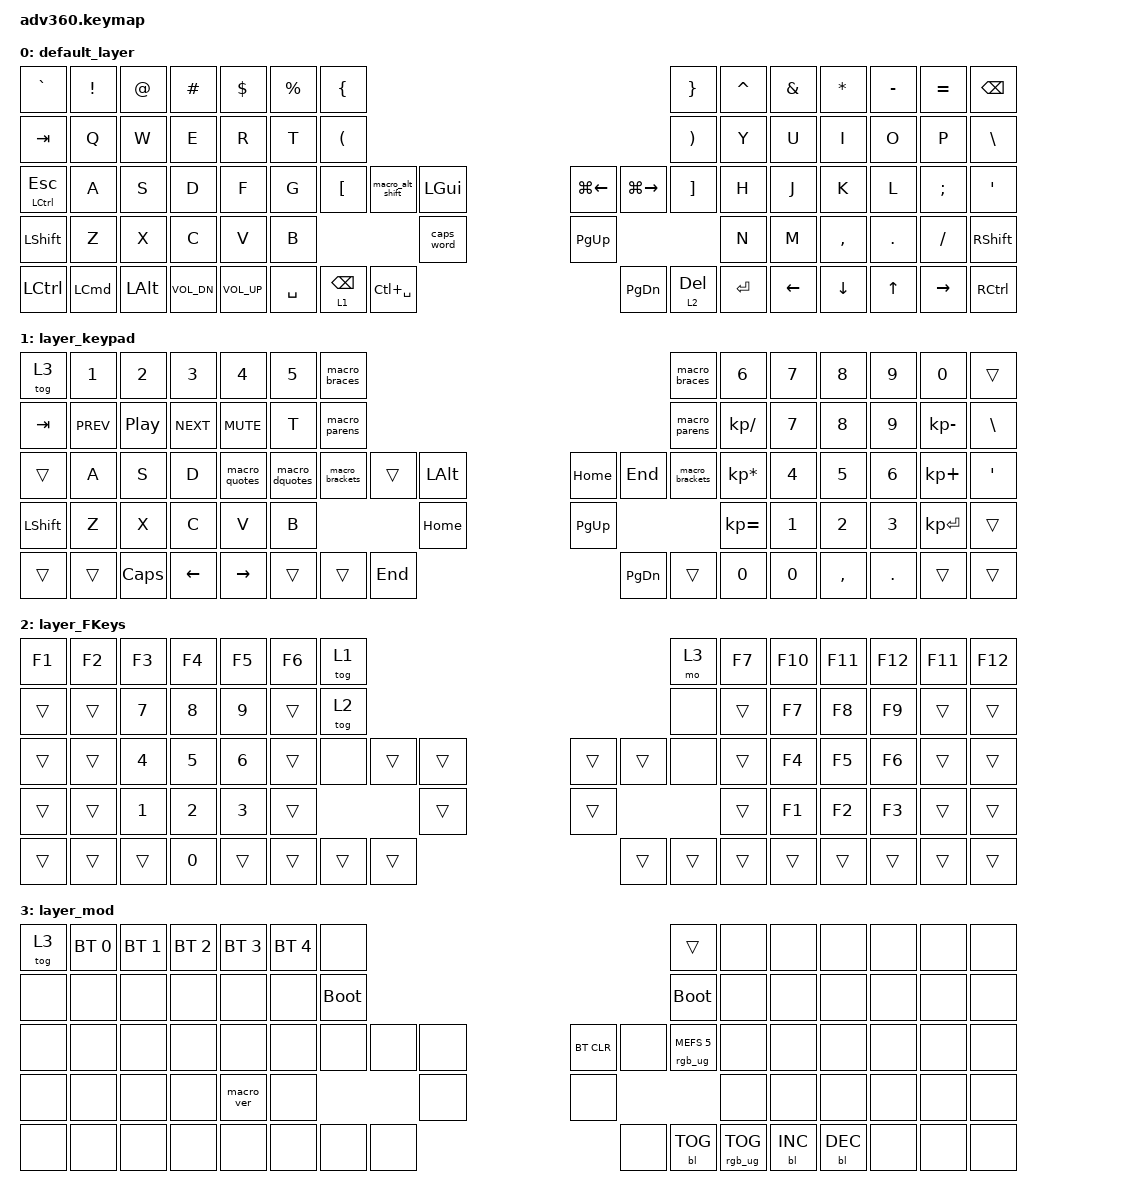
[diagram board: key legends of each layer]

/*
 * Copyright (c) 2020 The ZMK Contributors
 *
 * SPDX-License-Identifier: MIT
 */


/* This file is maintained by hand.
 *
 * It was originally generated by the Kinesis web editor, which has been
 * discontinued. keymap.json mirrors the bindings below for editors that
 * still read it; this file is what the firmware is built from.
 */

#include <behaviors.dtsi>
#include <dt-bindings/zmk/keys.h>
#include <dt-bindings/zmk/bt.h>
#include <dt-bindings/zmk/rgb.h>
#include <dt-bindings/zmk/backlight.h>

/ {
  behaviors {
    #include "macros.dtsi"
    #include "version.dtsi"

    hm: homerow_mods {
        compatible = "zmk,behavior-hold-tap";
        label = "HOMEROW_MODS";
        #binding-cells = <2>;
        tapping-term-ms = <200>;
        quick_tap_ms = <175>;
        flavor = "tap-preferred";
        bindings = <&kp>, <&kp>;
    };

    /* Hold = modifier, tap = key. Balanced: it only becomes a hold once
     * another key is pressed AND released while this one is down, so a fast
     * Esc-then-letter roll stays Esc. Tap, then hold, to auto-repeat the tap. */
    mtb: mod_tap_balanced {
        compatible = "zmk,behavior-hold-tap";
        #binding-cells = <2>;
        tapping-term-ms = <200>;
        quick-tap-ms = <175>;
        flavor = "balanced";
        bindings = <&kp>, <&kp>;
    };

    /* Hold = layer, tap = key. Same timing rules as mtb. */
    ltb: layer_tap_balanced {
        compatible = "zmk,behavior-hold-tap";
        #binding-cells = <2>;
        tapping-term-ms = <200>;
        quick-tap-ms = <175>;
        flavor = "balanced";
        bindings = <&mo>, <&kp>;
    };
  };

    keymap {
        compatible = "zmk,keymap";


        default_layer {
            bindings = <
      &kp GRAVE          &kp EXCL        &kp AT       &kp HASH       &kp DLLR  &kp PRCNT                  &kp LEFT_BRACE                                                                             &kp RIGHT_BRACE  &kp CARET  &kp AMPS   &kp STAR  &kp MINUS  &kp EQUAL   &kp BSPC
        &kp TAB             &kp Q         &kp W          &kp E          &kp R      &kp T            &kp LEFT_PARENTHESIS                                                                       &kp RIGHT_PARENTHESIS      &kp Y     &kp U      &kp I      &kp O      &kp P   &kp BSLH
 &mtb LCTRL ESC             &kp A         &kp S          &kp D          &kp F      &kp G                &kp LEFT_BRACKET  &macro_alt_shift      &kp LGUI               &kp LG(LEFT)  &kp LG(RIGHT)      &kp RIGHT_BRACKET      &kp H     &kp J      &kp K      &kp L   &kp SEMI    &kp SQT
      &kp LSHFT             &kp Z         &kp X          &kp C          &kp V      &kp B                                                      &caps_word                  &kp PG_UP                                         &kp N     &kp M  &kp COMMA    &kp DOT   &kp FSLH  &kp RSHFT
      &kp LCTRL  &kp LEFT_COMMAND  &kp LEFT_ALT  &kp C_VOL_DN  &kp C_VOL_UP                                  &kp SPACE       &ltb 1 BSPC  &kp LC(SPACE)                  &kp PG_DN     &ltb 2 DEL              &kp ENTER             &kp LEFT   &kp DOWN     &kp UP  &kp RIGHT  &kp RCTRL
            >;
        };

        layer_keypad {
            bindings = <
    &tog 3      &kp N1    &kp N2      &kp N3         &kp N4          &kp N5              &macro_braces                                                            &macro_braces           &kp N6  &kp N7     &kp N8   &kp N9         &kp N0    &trans
   &kp TAB  &kp C_PREV  &kp C_PP  &kp C_NEXT     &kp C_MUTE           &kp T              &macro_parens                                                            &macro_parens    &kp KP_DIVIDE  &kp N7     &kp N8   &kp N9   &kp KP_MINUS  &kp BSLH
    &trans       &kp A     &kp S       &kp D  &macro_quotes  &macro_dquotes            &macro_brackets  &trans  &kp LALT                   &kp HOME    &kp END  &macro_brackets  &kp KP_MULTIPLY  &kp N4     &kp N5   &kp N6    &kp KP_PLUS   &kp SQT
 &kp LSHFT       &kp Z     &kp X       &kp C          &kp V           &kp B                                     &kp HOME                  &kp PG_UP                                 &kp KP_EQUAL  &kp N1     &kp N2   &kp N3   &kp KP_ENTER    &trans
    &trans      &trans  &kp CAPS    &kp LEFT      &kp RIGHT                                     &trans  &trans   &kp END                  &kp PG_DN     &trans           &kp N0                   &kp N0  &kp COMMA  &kp DOT   &trans         &trans
            >;
        };

        layer_FKeys {
            bindings = <
 &kp F1  &kp F2        &kp F3        &kp F4        &kp F5  &kp F6            &tog 1                                                   &mo 3  &kp F7  &kp F10  &kp F11  &kp F12  &kp F11  &kp F12
 &trans  &trans  &kp NUMBER_7  &kp NUMBER_8  &kp NUMBER_9  &trans            &tog 2                                                   &none  &trans   &kp F7   &kp F8   &kp F9   &trans   &trans
 &trans  &trans  &kp NUMBER_4  &kp NUMBER_5  &kp NUMBER_6  &trans             &none  &trans  &trans                  &trans  &trans   &none  &trans   &kp F4   &kp F5   &kp F6   &trans   &trans
 &trans  &trans  &kp NUMBER_1  &kp NUMBER_2  &kp NUMBER_3  &trans                            &trans                  &trans                  &trans   &kp F1   &kp F2   &kp F3   &trans   &trans
 &trans  &trans        &trans  &kp NUMBER_0        &trans                    &trans  &trans  &trans                  &trans  &trans  &trans           &trans   &trans   &trans   &trans   &trans
            >;
        };

        layer_mod {
            bindings = <
 &tog 3  &bt BT_SEL 0  &bt BT_SEL 1  &bt BT_SEL 2  &bt BT_SEL 3  &bt BT_SEL 4                  &none                                                                          &trans   &none       &none       &none   &none   &none   &none
  &none         &none         &none         &none         &none         &none            &bootloader                                                                     &bootloader   &none       &none       &none   &none   &none   &none
  &none         &none         &none         &none         &none         &none                  &none   &none   &none                  &bt BT_CLR       &none  &rgb_ug RGB_MEFS_CMD 5   &none       &none       &none   &none   &none   &none
  &none         &none         &none         &none    &macro_ver         &none                                  &none                       &none                                       &none       &none       &none   &none   &none   &none
  &none         &none         &none         &none         &none                                &none   &none   &none                       &none  &bl BL_TOG         &rgb_ug RGB_TOG          &bl BL_INC  &bl BL_DEC   &none   &none   &none
            >;
        };

    };
};
